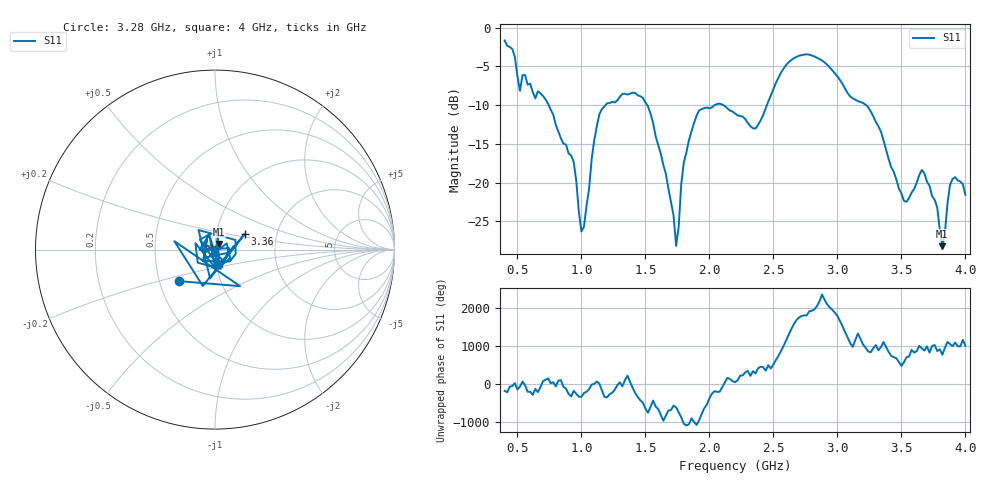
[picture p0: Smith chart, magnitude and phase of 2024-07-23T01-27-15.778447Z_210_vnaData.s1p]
!Created with skrf (http://scikit-rf.org).
# Hz S RI R 50.0
!freq ReS11 ImS11
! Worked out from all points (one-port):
!   181 points, 400 MHz to 4 GHz, reference 50 ohm
!   lowest |S11| = -28.2 dB at 3.82 GHz (marker M1), VSWR 1.08, Z = 52.4 + j3.22 ohm
!   |S11| at or under -10 dB: 745.1 MHz to 1.188 GHz (443.2 MHz wide, 45.8 % of centre); 1.514 GHz to 2.039 GHz (525.4 MHz wide, 29.6 % of centre); 3.224 GHz to end of sweep (the widest 3 of 4)
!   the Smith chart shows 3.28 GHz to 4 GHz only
!   S11 on the Smith chart (normalised r, x): 3.28 GHz: 0.63, -0.24; 3.36 GHz: 1.37, +0.25; 4 GHz: 1.03, -0.17
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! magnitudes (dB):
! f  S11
! 400 MHz  -1.7
! 480 MHz  -3.8
! 520 MHz  -8.2
! 560 MHz  -6.1
! 700 MHz  -8.8
! 860 MHz  -15.0
! 940 MHz  -17.3
! 1 GHz  -26.3
! 1.14 GHz  -11.2
! 1.3 GHz  -8.9
! 1.52 GHz  -10.1
! 1.66 GHz  -18.9
! 1.74 GHz  -28.1
! 1.76 GHz  -25.7
! 1.8 GHz  -17.4
! 1.92 GHz  -10.7
! 2.2 GHz  -11.1
! 2.36 GHz  -13.0
! 2.66 GHz  -3.9
! 3.1 GHz  -8.9
! 3.28 GHz  -11.4
! 3.36 GHz  -14.5
! 3.56 GHz  -22.0
! 3.68 GHz  -18.8
! 3.78 GHz  -23.2
! 3.82 GHz  -28.2
! 3.9 GHz  -19.5
! 4 GHz  -21.6
